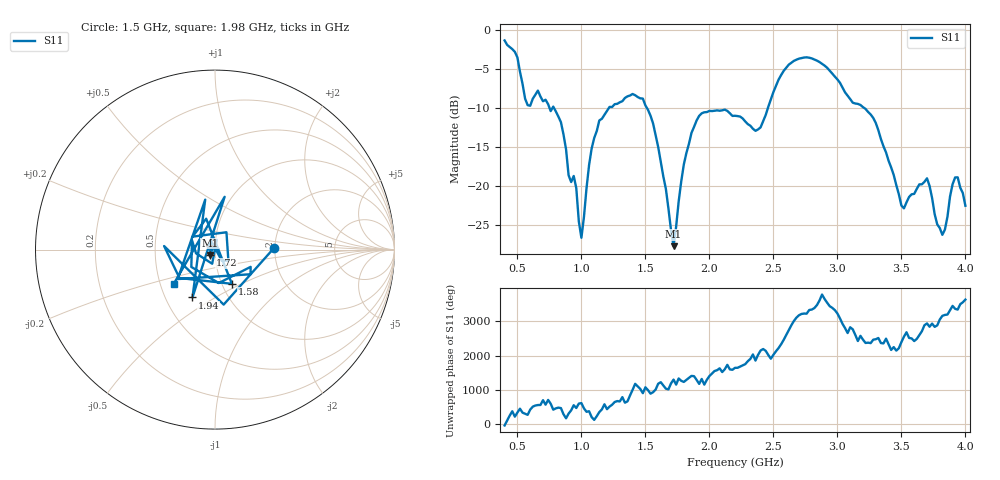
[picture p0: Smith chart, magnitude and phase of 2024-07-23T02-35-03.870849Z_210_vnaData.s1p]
!Created with skrf (http://scikit-rf.org).
# Hz S RI R 50.0
!freq ReS11 ImS11
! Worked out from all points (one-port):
!   181 points, 400 MHz to 4 GHz, reference 50 ohm
!   lowest |S11| = -27.7 dB at 1.72 GHz (marker M1), VSWR 1.09, Z = 47.1 - j2.8 ohm
!   |S11| at or under -10 dB: 787.9 MHz to 1.213 GHz (424.6 MHz wide, 42.5 % of centre); 1.514 GHz to 2.456 GHz (941.8 MHz wide, 47.4 % of centre); 3.215 GHz to end of sweep (the widest 3 of 4)
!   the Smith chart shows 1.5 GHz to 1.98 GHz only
!   S11 on the Smith chart (normalised r, x): 1.5 GHz: 1.99, +0.05; 1.58 GHz: 1.11, -0.44; 1.72 GHz: 0.94, -0.06; 1.94 GHz: 0.68, -0.40; 1.98 GHz: 0.59, -0.25
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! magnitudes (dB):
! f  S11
! 400 MHz  -1.3
! 500 MHz  -3.5
! 580 MHz  -9.6
! 660 MHz  -7.7
! 860 MHz  -13.3
! 900 MHz  -18.6
! 960 MHz  -20.2
! 1 GHz  -26.6
! 1.1 GHz  -13.8
! 1.3 GHz  -9.2
! 1.5 GHz  -9.6
! 1.58 GHz  -13.4
! 1.72 GHz  -27.7
! 1.76 GHz  -21.9
! 1.86 GHz  -13.1
! 1.94 GHz  -10.6
! 1.98 GHz  -10.5
! 2.2 GHz  -10.9
! 2.4 GHz  -12.4
! 2.66 GHz  -3.9
! 3.1 GHz  -8.8
! 3.3 GHz  -11.9
! 3.5 GHz  -22.4
! 3.56 GHz  -21.3
! 3.7 GHz  -19.0
! 3.82 GHz  -26.2
! 3.92 GHz  -18.8
! 4 GHz  -22.5
